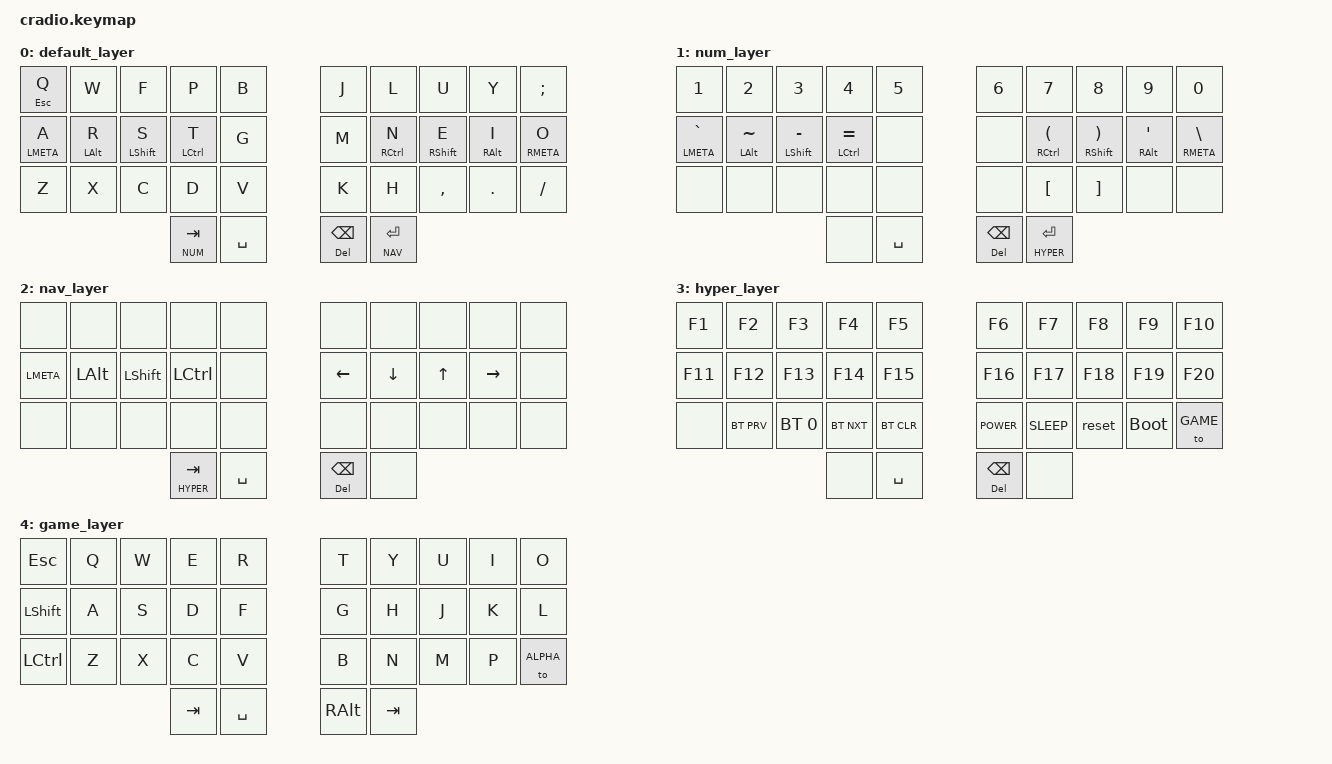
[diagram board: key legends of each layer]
/*
 * Copyright (c) 2020 The ZMK Contributors
 *
 * SPDX-License-Identifier: MIT
 */

#include <behaviors.dtsi>
#include <dt-bindings/zmk/keys.h>
#include <dt-bindings/zmk/bt.h>

#define ALPHA 0
#define NUM   1
#define NAV   2
#define HYPER 3
#define GAME  4


&mt {
  flavor = "tap-preferred";
  tapping_term_ms = <200>;
  quick_tap_ms = <150>;
};

/ { 
        keymap {
                compatible = "zmk,keymap";
                
       		default_layer {
		bindings = <
		&mt ESC Q   &kp W      &kp F       &kp P       &kp B                &kp J        &kp L       &kp U       &kp Y      &kp SEMI 
		&mt LMETA A &mt LALT R &mt LSHFT S &mt LCTRL T &kp G                &kp M        &mt RCTRL N &mt RSHFT E &mt RALT I &mt RMETA O
		&kp Z       &kp X      &kp C       &kp D       &kp V                &kp K        &kp H       &kp CMMA    &kp DOT    &kp FSLH
                                           &lt NUM TAB &kp SPACE            &mt DEL BSPC &lt NAV RET
		>;
		};

       		num_layer {
		bindings = <
		&kp NUM_1       &kp NUM_2      &kp NUM_3       &kp NUM_4       &kp NUM_5             &kp NUM_6    &kp NUM_7      &kp NUM_8      &kp NUM_9     &kp NUM_0 
		&mt LMETA GRAVE &mt LALT TILDE &mt LSHFT MINUS &mt LCTRL EQUAL &none                 &none        &mt RCTRL LPAR &mt RSHFT RPAR &mt RALT APOS &mt RMETA BSLH
		&none           &none  	       &none           &none           &none                 &none        &kp LBKT       &kp RBKT       &none         &none  
					                                   &none           &kp SPACE             &mt DEL BSPC &lt HYPER RET
		>;
		};
		
		    nav_layer {
		bindings = <
		&none     &none    &none     &none         &none               &none        &none    &none  &none     &none 
		&kp LMETA &kp LALT &kp LSHFT &kp LCTRL     &none               &kp LEFT     &kp DOWN &kp UP &kp RIGHT &none
		&none     &none    &none     &none         &none               &none        &none    &none  &none     &none
                                     &lt HYPER TAB &kp SPACE           &mt DEL BSPC &none 
		>;
		};	
		
		    hyper_layer {
		bindings = <
		&kp F1  &kp F2     &kp F3       &kp F4     &kp F5              &kp F6       &kp F7      &kp F8  &kp F9      &kp F10
		&kp F11 &kp F12    &kp F13      &kp F14    &kp F15             &kp F16      &kp F17     &kp F18 &kp F19     &kp F20 
		&none   &bt BT_PRV &bt BT_SEL 0 &bt BT_NXT &bt BT_CLR          &kp C_POWER  &kp C_SLEEP &reset  &bootloader &to GAME
					                    &none      &kp SPACE           &mt DEL BSPC &none 
		>;
		};	
        
		    game_layer {
		bindings = <
		&kp ESC   &kp Q &kp W &kp E   &kp R               &kp T  &kp Y &kp U &kp I &kp O 
		&kp LSHFT &kp A &kp S &kp D   &kp F               &kp G  &kp H &kp J &kp K &kp L
		&kp LCTRL &kp Z &kp X &kp C   &kp V               &kp B  &kp N &kp M &kp P &to ALPHA
                              &kp TAB &kp SPACE           &kp RALT &kp TAB 
		>;
		};	
	};
};
